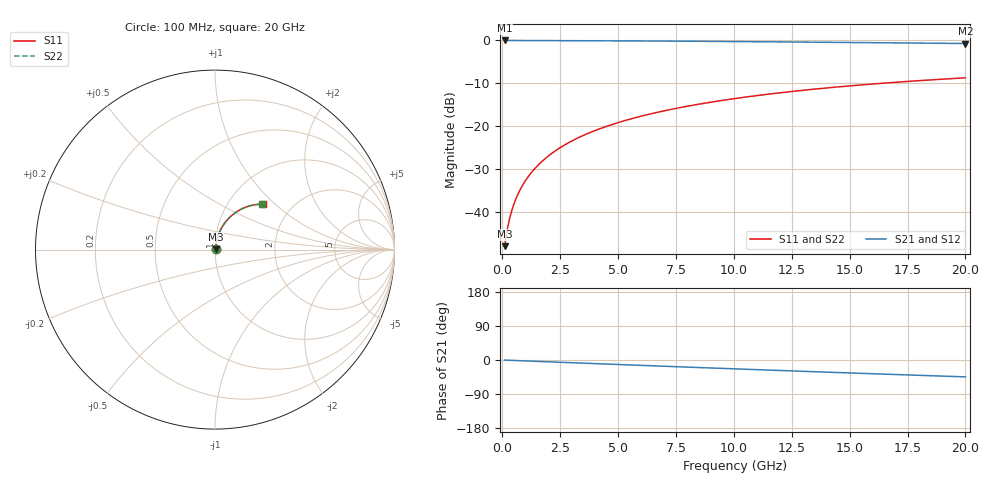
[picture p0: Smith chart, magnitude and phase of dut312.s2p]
! Touchstone file exported from HFSS 2026.1.0
!  File:  C:/ffzhzh/LocalFiles/Ansys_Project_Files/temp_train_TMRDL_312_1783003305_53980.aedt
!  Generated:  10:43:01 PM Jul  2, 2026
!  Design:  TMRDL
!  Project:  temp_train_TMRDL_312_1783003305_53980
! Variables:
!  h_bsmrdl = 2um
!  h_ox = 20um
!  h_rdl = 5um
!  h_sub = 80um
!  h_tmrdl = 3.73um
!  h_tsv = 80um
!  h_via = 3um
!  l_bsmrdl = 300um
!  l_sub = 1078.46um
!  l_tmrdl = 678.46um
!  m_sub = 200um
!  pitch = 44.49um
!  r_tsv = 6um
!  s_tmrdl = 10um
!  w_bsmrdl = 18um
!  w_sub = 500um
!  w_tmrdl = 22.04um
!  x_tsv_center1 = 689.48um
!  x_tsv_center2 = 1007.48um
!  x_tsv_center3 = 1707.98um
!  x_tsv_center4 = 2025.98um
!  x_tsv_center5 = 2726.48um
!  x_tsv_center6 = 3044.48um
# GHz S MA R 50.000000
! Terminal data exported
! Port[1] = TM_RDL1_1_T1
! Port[2] = TM_RDL1_1_T2
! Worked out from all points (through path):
!   200 points, 100 MHz to 20 GHz, reference 50 ohm
!   highest |S21| = -0.03 dB at 100 MHz (marker M1); lowest = -0.7 dB at 20 GHz (marker M2)
!   group delay of S21, straight-line fit = 6.18 ps
!   lowest |S11| = -47.9 dB at 100 MHz (marker M3), VSWR 1.01, Z = 50.3 + j0.252 ohm
!   |S11| at or under -10 dB: start of sweep to 16.39 GHz
!   |S22| runs from -47.9 to -8.7 dB; largest |S21 - S12| = 2.6e-15
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0.1  0.00401 38.7  0.9969 -0.3  0.9969 -0.3  0.00401 38.7
! Gamma 0 0 0 0
! Port Impedance 50 0 50 0
0.2  0.005947 55.9  0.9967 -0.5  0.9967 -0.5  0.005946 55.9
0.3  0.008074 63.8  0.9965 -0.8  0.9965 -0.8  0.008073 63.8
0.4  0.01022 68.2  0.9963 -1.0  0.9963 -1.0  0.01022 68.2
0.5  0.01237 71.1  0.9962 -1.2  0.9962 -1.2  0.01237 71.1
0.6  0.01452 73.1  0.9961 -1.5  0.9961 -1.5  0.01452 73.1
0.8  0.01885 75.8  0.9959 -1.9  0.9959 -1.9  0.01885 75.8
1.1  0.02541 77.9  0.9956 -2.7  0.9956 -2.7  0.02541 77.9
1.3  0.02981 78.7  0.9954 -3.1  0.9954 -3.1  0.02981 78.7
1.6  0.03643 79.3  0.9951 -3.9  0.9951 -3.9  0.03643 79.3
2.1  0.04746 79.4  0.9944 -5.1  0.9944 -5.1  0.04746 79.4
2.7  0.06066 78.9  0.9934 -6.5  0.9934 -6.5  0.06066 78.9
3.5  0.07811 77.7  0.9917 -8.4  0.9917 -8.4  0.07811 77.7
4.2  0.09319 76.4  0.9899 -10.0  0.9899 -10.0  0.09319 76.4
5  0.1102 74.8  0.9876 -11.9  0.9876 -11.9  0.1102 74.8
5.9  0.1289 72.9  0.9848 -14.0  0.9848 -14.0  0.1289 72.9
6.8  0.1473 71.0  0.9816 -16.1  0.9816 -16.1  0.1473 71.0
8.3  0.1769 67.8  0.9758 -19.5  0.9758 -19.5  0.1769 67.8
10.1  0.211 63.9  0.9681 -23.5  0.9681 -23.5  0.211 63.9
13.4  0.269 57.0  0.9525 -30.8  0.9525 -30.8  0.269 57.0
16.7  0.3208 50.2  0.9357 -37.8  0.9357 -37.8  0.3208 50.2
20  0.366 43.7  0.9187 -44.5  0.9187 -44.5  0.366 43.7
